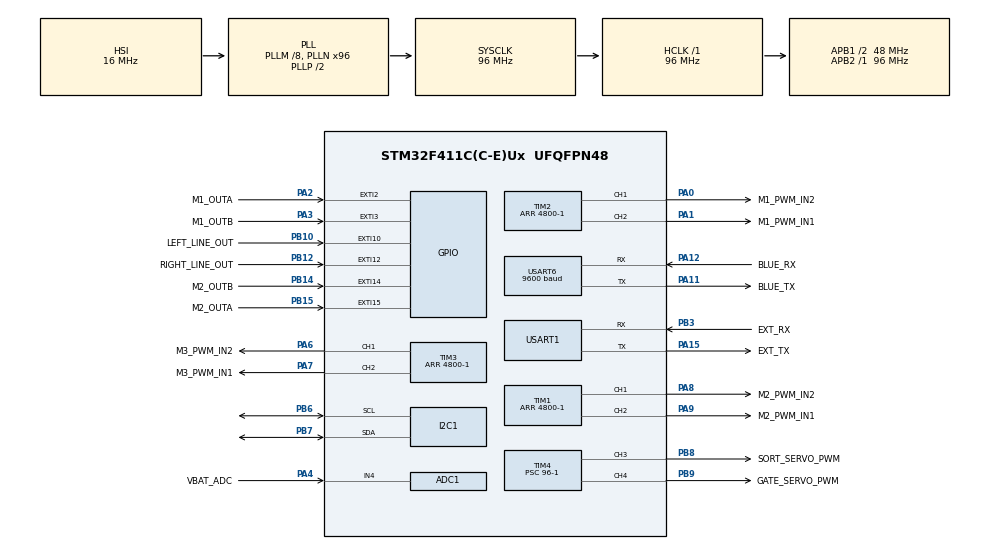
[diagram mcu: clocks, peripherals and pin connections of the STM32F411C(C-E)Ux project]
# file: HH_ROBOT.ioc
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ADC1.Channel-0\#ChannelRegularConversion=ADC_CHANNEL_4
ADC1.NbrOfConversionFlag=1
ADC1.Rank-0\#ChannelRegularConversion=1
ADC1.SamplingTime-0\#ChannelRegularConversion=ADC_SAMPLETIME_3CYCLES
ADC1.master=1
I2C1.I2C_Mode=I2C_Standard
Mcu.Family=STM32F4
Mcu.Name=STM32F411C(C-E)Ux
Mcu.Package=UFQFPN48
NVIC.EXTI15_10_IRQn=true\:0\:0\:false\:false\:true\:true\:true\:true
NVIC.EXTI2_IRQn=true\:0\:0\:false\:false\:true\:true\:true\:true
NVIC.EXTI3_IRQn=true\:0\:0\:false\:false\:true\:true\:true\:true
NVIC.PriorityGroup=NVIC_PRIORITYGROUP_4
NVIC.TIM1_BRK_TIM9_IRQn=true\:0\:0\:false\:false\:true\:true\:true\:true
NVIC.TIM1_UP_TIM10_IRQn=true\:0\:0\:false\:false\:true\:true\:true\:true
NVIC.TIM4_IRQn=true\:0\:0\:false\:false\:true\:true\:true\:true
NVIC.USART1_IRQn=true\:0\:0\:false\:false\:true\:true\:true\:true
NVIC.USART6_IRQn=true\:0\:0\:false\:false\:true\:true\:true\:true
PA0-WKUP.GPIO_Label=M1_PWM_IN2
PA0-WKUP.Signal=S_TIM2_CH1_ETR
PA1.GPIO_Label=M1_PWM_IN1
PA1.Signal=S_TIM2_CH2
PA11.GPIO_Label=BLUE_TX
PA11.Mode=Asynchronous
PA11.Signal=USART6_TX
PA12.GPIO_Label=BLUE_RX
PA12.Mode=Asynchronous
PA12.Signal=USART6_RX
PA13.Mode=Serial_Wire
PA13.Signal=SYS_JTMS-SWDIO
PA14.Mode=Serial_Wire
PA14.Signal=SYS_JTCK-SWCLK
PA15.GPIO_Label=EXT_TX
PA15.Mode=Asynchronous
PA15.Signal=USART1_TX
PA2.GPIO_Label=M1_OUTA
PA2.GPIO_ModeDefaultEXTI=GPIO_MODE_IT_RISING_FALLING
PA2.Signal=GPXTI2
PA3.GPIO_Label=M1_OUTB
PA3.GPIO_ModeDefaultEXTI=GPIO_MODE_IT_RISING_FALLING
PA3.Signal=GPXTI3
PA4.GPIO_Label=VBAT_ADC
PA4.Signal=ADCx_IN4
PA6.GPIO_Label=M3_PWM_IN2
PA6.Signal=S_TIM3_CH1
PA7.GPIO_Label=M3_PWM_IN1
PA7.Signal=S_TIM3_CH2
PA8.GPIO_Label=M2_PWM_IN2
PA8.Signal=S_TIM1_CH1
PA9.GPIO_Label=M2_PWM_IN1
PA9.Signal=S_TIM1_CH2
PB10.GPIO_Label=LEFT_LINE_OUT
PB10.GPIO_ModeDefaultEXTI=GPIO_MODE_IT_RISING_FALLING
PB10.GPIO_PuPd=GPIO_NOPULL
PB10.Signal=GPXTI10
PB12.GPIO_Label=RIGHT_LINE_OUT
PB12.GPIO_ModeDefaultEXTI=GPIO_MODE_IT_RISING_FALLING
PB12.Signal=GPXTI12
PB14.GPIO_Label=M2_OUTB
PB14.GPIO_ModeDefaultEXTI=GPIO_MODE_IT_RISING_FALLING
PB14.Signal=GPXTI14
PB15.GPIO_Label=M2_OUTA
PB15.GPIO_ModeDefaultEXTI=GPIO_MODE_IT_RISING_FALLING
PB15.Signal=GPXTI15
PB3.GPIO_Label=EXT_RX
PB3.Mode=Asynchronous
PB3.Signal=USART1_RX
PB6.GPIO_Pu=GPIO_PULLUP
PB6.Mode=I2C
PB6.Signal=I2C1_SCL
PB7.GPIO_Pu=GPIO_PULLUP
PB7.Mode=I2C
PB7.Signal=I2C1_SDA
PB8.GPIO_Label=SORT_SERVO_PWM
PB8.Signal=S_TIM4_CH3
PB9.GPIO_Label=GATE_SERVO_PWM
PB9.Signal=S_TIM4_CH4
PH0\ -\ OSC_IN.Mode=HSE-External-Oscillator
PH0\ -\ OSC_IN.Signal=RCC_OSC_IN
PH1\ -\ OSC_OUT.Mode=HSE-External-Oscillator
PH1\ -\ OSC_OUT.Signal=RCC_OSC_OUT
ProjectManager.HeapSize=0x200
ProjectManager.StackSize=0x400
ProjectManager.TargetToolchain=STM32CubeIDE
RCC.48MHZClocksFreq_Value=48000000
RCC.AHBFreq_Value=96000000
RCC.APB1CLKDivider=RCC_HCLK_DIV2
RCC.APB1Freq_Value=48000000
RCC.APB1TimFreq_Value=96000000
RCC.APB2Freq_Value=96000000
RCC.APB2TimFreq_Value=96000000
RCC.CortexFreq_Value=96000000
RCC.HCLKFreq_Value=96000000
RCC.HSE_VALUE=25000000
RCC.HSI_VALUE=16000000
RCC.LSE_VALUE=32768
RCC.PLLM=8
RCC.PLLN=96
RCC.SYSCLKFreq_VALUE=96000000
RCC.SYSCLKSource=RCC_SYSCLKSOURCE_PLLCLK
RCC.VCOOutputFreq_Value=192000000
SH.ADCx_IN4.0=ADC1_IN4,IN4
SH.S_TIM1_CH1.0=TIM1_CH1,PWM Generation1 CH1
SH.S_TIM1_CH2.0=TIM1_CH2,PWM Generation2 CH2
SH.S_TIM2_CH1_ETR.0=TIM2_CH1,PWM Generation1 CH1
SH.S_TIM2_CH2.0=TIM2_CH2,PWM Generation2 CH2
SH.S_TIM3_CH1.0=TIM3_CH1,PWM Generation1 CH1
SH.S_TIM3_CH2.0=TIM3_CH2,PWM Generation2 CH2
SH.S_TIM4_CH3.0=TIM4_CH3,PWM Generation3 CH3
SH.S_TIM4_CH4.0=TIM4_CH4,PWM Generation4 CH4
TIM1.Channel-PWM\ Generation1\ CH1=TIM_CHANNEL_1
TIM1.Channel-PWM\ Generation2\ CH2=TIM_CHANNEL_2
TIM1.Period=4800-1
TIM10.AutoReloadPreload=TIM_AUTORELOAD_PRELOAD_DISABLE
TIM10.Period=48000-1
TIM10.Prescaler=2000-1
TIM2.Channel-PWM\ Generation1\ CH1=TIM_CHANNEL_1
TIM2.Channel-PWM\ Generation2\ CH2=TIM_CHANNEL_2
TIM2.Period=4800-1
TIM3.Channel-PWM\ Generation1\ CH1=TIM_CHANNEL_1
TIM3.Channel-PWM\ Generation2\ CH2=TIM_CHANNEL_2
TIM3.Period=4800-1
TIM4.Channel-PWM\ Generation3\ CH3=TIM_CHANNEL_3
TIM4.Channel-PWM\ Generation4\ CH4=TIM_CHANNEL_4
TIM4.Period=20000-1
TIM4.Prescaler=96-1
TIM9.Period=48000-1
TIM9.Prescaler=2-1
USART1.VirtualMode=VM_ASYNC
USART6.BaudRate=9600
USART6.VirtualMode=VM_ASYNC
VP_TIM10_VS_ClockSourceINT.Mode=Enable_Timer
VP_TIM9_VS_ClockSourceINT.Mode=Internal
board=custom

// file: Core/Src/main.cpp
/* USER CODE BEGIN Header */
/**
  ******************************************************************************
  * @file           : main.cpp
  * @brief          : Main program body
  ******************************************************************************
  * @attention
  * @author Miles Alderman
  * @author John Bennett
  * Copyright (c) 2023 STMicroelectronics.
  * All rights reserved.
  *
  * This software is licensed under terms that can be found in the LICENSE file
  * in the root directory of this software component.
  * If no LICENSE file comes with this software, it is provided AS-IS.
  *
  ******************************************************************************
  */

/* USER CODE END Header */
#include "main.h"

/* USER CODE BEGIN Includes */

#include "string.h"
#include "apds9960.h"
#include "servo_driver.h"
#include <stdio.h>
#include "motor_driver.h"
#include "bluetooth_driver.h"
#include "line_driver.h"
#include "encoder_driver.h"
#include "navigation.h"

/* USER CODE END Includes */

ADC_HandleTypeDef hadc1;

I2C_HandleTypeDef hi2c1;

TIM_HandleTypeDef htim1;
TIM_HandleTypeDef htim2;
TIM_HandleTypeDef htim3;
TIM_HandleTypeDef htim4;
TIM_HandleTypeDef htim9;
TIM_HandleTypeDef htim10;

UART_HandleTypeDef huart1;
UART_HandleTypeDef huart6;

/* USER CODE BEGIN PV */
uint8_t sort_flg = 1;
uint8_t corral_flg = 1;
uint8_t nav_flg = 1;
uint8_t nav_2_flg = 1;

char char_in;
char blue_char;
double PathL;

blue_drv_t blue1 = {'0', '1', &blue_char};

line_drv_t lineR = {'0', GPIOB, RIGHT_LINE_OUT_Pin};
line_drv_t lineL = {'0', GPIOB, LEFT_LINE_OUT_Pin};

motor_drv_t motor1 = {0, TIM_CHANNEL_2, TIM_CHANNEL_1,&htim2};
motor_drv_t motor2 = {0, TIM_CHANNEL_2, TIM_CHANNEL_1,&htim1};
motor_drv_t motor3 = {-1000, TIM_CHANNEL_2, TIM_CHANNEL_1,&htim3};

encoder_drv_t encoder1 = init_encoder(M1_OUTA_Pin, GPIOA, M1_OUTB_Pin, GPIOA, 64*50);
encoder_drv_t encoder2 = init_encoder(M2_OUTA_Pin, GPIOB, M2_OUTB_Pin, GPIOB, 64*50);

// Start Color Sensor
APDS9960 RGB_SORT(&hi2c1, &huart6, 250);

// Servo Object
Servo SERVO_SORT(&htim4, TIM_CHANNEL_4);
Servo SERVO_CORRAL(&htim4, TIM_CHANNEL_3);

// PID
PID_drv_t PID1 = {0, 0, 0, 20, 0, 0, 17};
PID_drv_t PID2 = {0, 0, 0, 20, 0, 0, 17};

// Build World
double y_start = 36;
world_drv_t world = {0,-y_start,90,5, (int16_t)y_start, 0, -y_start,37000/720,6400/11};

//Navigation
nav_drv_t nav = {&motor1,&motor2,&encoder1,&encoder2,&PID1,&PID2,&world,0};

/* USER CODE END PV */

void SystemClock_Config(void);
static void MX_GPIO_Init(void);
static void MX_ADC1_Init(void);
static void MX_I2C1_Init(void);
static void MX_TIM1_Init(void);
static void MX_TIM2_Init(void);
static void MX_TIM3_Init(void);
static void MX_TIM4_Init(void);
static void MX_USART1_UART_Init(void);
static void MX_USART6_UART_Init(void);
static void MX_TIM10_Init(void);
static void MX_TIM9_Init(void);
/* USER CODE BEGIN PFP */
void usrprint(const char* message);
void usrprint(uint32_t value);

/**
  * @brief The mastermind task. Mastermind manages other tasks
  */
void MASTERMIND_TASK () {
	if (nav_flg == 5 && nav.flag == 0) {
		corral_flg = 2;
	}
	if (corral_flg == 2 && SERVO_CORRAL.flag == 0){
		nav_flg = 6;
	}
	if (nav_flg == 5 && nav.flag == 0) {
		corral_flg = 1;
	}
}

/**
  * @brief Navigation task controls the desired position of robot
  */
void NAV_TASK(){
	if(blue1.status == '1'){
		nav_Update_PID(&nav);
		if(nav_flg == 1 && nav.flag == 0){
			nav_Lin(&nav,6*3);
			nav_flg++;
		} else if(nav_flg == 2 && nav.flag == 0){
			nav_Rot(&nav,-60);
			nav_flg++;
			PathL = -world.y_tot_pos;
		} else if(nav_flg == 3){
			if(nav_2_flg == 12 && nav.flag == 0){
				nav_Rot(&nav,120);
				nav_flg++;
				nav_2_flg = 1;
			} else if(nav_2_flg%2 == 1){
				if(nav.flag == 0){
					nav_Lin(&nav,PathL);
					nav_2_flg++;
				}
			} else if(nav_2_flg%2 == 0){
				if(nav.flag == 0){
					nav_Rot(&nav,60);
					nav_2_flg++;
				}
			}
		} else if(nav_flg == 4){
			if(nav.flag == 0){
				nav_Lin(&nav,-.5);
				nav_2_flg++;
			}
			if(lineR.state == '1' || lineL.state == '1'){
				nav_flg++;
			}
		} else if(nav_flg == 5){
			if(nav.flag == 0){
				//waiting for Corral 2 lift
			}
		}  else if(nav_flg == 6){
			if(nav.flag == 0){
				nav_Lin(&nav,.5*(nav_2_flg-2));
				nav_flg = 2;
				nav_2_flg = 1;
			}
		}
	}
}

/**
  * @brief Tasks for the Corral module.
  * @param SERVO_obj Servo object associated with the corral.
  */
void CORRAL_TASK(Servo& SERVO_obj) {
	if(blue1.status == '1'){
		// 45deg => 0deg
		if (corral_flg == 1 && SERVO_obj.flag == 0) {
			SERVO_obj.setAngle(0,2000);
			corral_flg = 0;
		// 0deg => 45deg
		} else if (corral_flg == 2 && SERVO_obj.flag == 0) {
			SERVO_obj.setAngle(45,2000);
			corral_flg = 0;
		}
	}

}

/**
  * @brief Tasks for the Motor module.
  * @param motor1 First motor object.
  * @param motor2 Second motor object.
  * @param motor3 Third motor object.
  */
void MOTOR_TASK(motor_drv_t* motor1, motor_drv_t* motor2, motor_drv_t* motor3) {
	  setPWM(motor1);
	  setPWM(motor2);
	  setPWM(motor3);
}

/**
  * @brief Sorts colelcted balls
  * @param RGB_obj RGB sensor object.
  * @param SERVO_obj Servo object associated with the sort module.
  */
void SORT_TASK(APDS9960& RGB_obj, Servo& SERVO_obj) {
	if(blue1.status == '1'){
		if (sort_flg != 0) {
			RGB_obj.readRGBC();
		}

		if (sort_flg == 1) {
			//State 1: Sensing
			if (RGB_obj.ballDetect()) {
				sort_flg = 2;
				//usrprint("Ball Detected");
			}
			//RGB_obj.printRGBCBuffer();

		} else if (sort_flg == 2){
			//State 2: Processing

			// Determine if ball should be kept
			if (RGB_obj.colorSort()) { //if ball is our color
				SERVO_obj.setAngle(0,5000); // coral
				//usrprint("Target Ball Acquired! Storing...");
			} else {
				SERVO_obj.setAngle(180,5000); // reject
				//usrprint("Incorrect ball... rejecting");
			}

			sort_flg = 3;

		} else if (sort_flg == 3) {
			//State 3: Sort Movement
			if (SERVO_obj.flag == 0){
				//usrprint("Position Reset");
				SERVO_obj.setAngle(90,5000); // 90 degrees
				sort_flg = 4;
			}

		} else if (sort_flg == 4) {
			//State 4: resetting
			if (SERVO_obj.flag == 0){
				sort_flg = 1;
				//usrprint("Ready for new ball!");
			}
		}
	}

}

/* USER CODE END PFP */

 /**
  * @brief The application entry point.
  * @retval int Return code
  */
int main(void)
{

  /* MCU Configuration--------------------------------------------------------*/

  /* Reset of all peripherals, Initializes the Flash interface and the Systick. */
  HAL_Init();

  /* Configure the system clock */
  SystemClock_Config();

  /* Initialize all configured peripherals */
  MX_GPIO_Init();
  MX_ADC1_Init();
  MX_I2C1_Init();
  MX_TIM1_Init();
  MX_TIM2_Init();
  MX_TIM3_Init();
  MX_TIM4_Init();
  MX_USART1_UART_Init();
  MX_USART6_UART_Init();
  MX_TIM10_Init();
  MX_TIM9_Init();
  /* USER CODE BEGIN 2 */

  //////// INTITIALIZATION //////////////////////////////
  SERVO_SORT.initialize();
  SERVO_SORT.setAngle(90,2000);

  SERVO_CORRAL.max_rot = 270;
  SERVO_CORRAL.initialize();
  SERVO_CORRAL.setAngle(45,2000); //start in upright position TODO: move to mastermind at some point

  // Start UART
  HAL_UART_Receive_IT(&huart1,(uint8_t*) &char_in, 1);
  HAL_UART_Receive_IT(&huart6,(uint8_t*) &blue_char, 1);
  // Start timer
  HAL_TIM_Base_Start_IT(&htim10);
  HAL_TIM_Base_Start_IT(&htim9);
  /* USER CODE END 2 */

  /* Infinite loop */
  /* USER CODE BEGIN WHILE */
  while (1)
  {
	  MASTERMIND_TASK();
	  CORRAL_TASK(SERVO_CORRAL);
	  SORT_TASK(RGB_SORT, SERVO_SORT);
	  NAV_TASK();
	  MOTOR_TASK(&motor1,&motor2,&motor3);
    /* USER CODE END WHILE */

  }
}

void SystemClock_Config(void)
{
  RCC_OscInitTypeDef RCC_OscInitStruct = {0};
  RCC_ClkInitTypeDef RCC_ClkInitStruct = {0};

  /** Configure the main internal regulator output voltage
  */
  __HAL_RCC_PWR_CLK_ENABLE();
  __HAL_PWR_VOLTAGESCALING_CONFIG(PWR_REGULATOR_VOLTAGE_SCALE1);

  /** Initializes the RCC Oscillators according to the specified parameters
  * in the RCC_OscInitTypeDef structure.
  */
  RCC_OscInitStruct.OscillatorType = RCC_OSCILLATORTYPE_HSI;
  RCC_OscInitStruct.HSIState = RCC_HSI_ON;
  RCC_OscInitStruct.HSICalibrationValue = RCC_HSICALIBRATION_DEFAULT;
  RCC_OscInitStruct.PLL.PLLState = RCC_PLL_ON;
  RCC_OscInitStruct.PLL.PLLSource = RCC_PLLSOURCE_HSI;
  RCC_OscInitStruct.PLL.PLLM = 8;
  RCC_OscInitStruct.PLL.PLLN = 96;
  RCC_OscInitStruct.PLL.PLLP = RCC_PLLP_DIV2;
  RCC_OscInitStruct.PLL.PLLQ = 4;
  if (HAL_RCC_OscConfig(&RCC_OscInitStruct) != HAL_OK)
  {
    Error_Handler();
  }

  /** Initializes the CPU, AHB and APB buses clocks
  */
  RCC_ClkInitStruct.ClockType = RCC_CLOCKTYPE_HCLK|RCC_CLOCKTYPE_SYSCLK
                              |RCC_CLOCKTYPE_PCLK1|RCC_CLOCKTYPE_PCLK2;
  RCC_ClkInitStruct.SYSCLKSource = RCC_SYSCLKSOURCE_PLLCLK;
  RCC_ClkInitStruct.AHBCLKDivider = RCC_SYSCLK_DIV1;
  RCC_ClkInitStruct.APB1CLKDivider = RCC_HCLK_DIV2;
  RCC_ClkInitStruct.APB2CLKDivider = RCC_HCLK_DIV1;

  if (HAL_RCC_ClockConfig(&RCC_ClkInitStruct, FLASH_LATENCY_3) != HAL_OK)
  {
    Error_Handler();
  }
}

static void MX_ADC1_Init(void)
{

  ADC_ChannelConfTypeDef sConfig = {0};

  /** Configure the global features of the ADC (Clock, Resolution, Data Alignment and number of conversion)
  */
  hadc1.Instance = ADC1;
  hadc1.Init.ClockPrescaler = ADC_CLOCK_SYNC_PCLK_DIV4;
  hadc1.Init.Resolution = ADC_RESOLUTION_12B;
  hadc1.Init.ScanConvMode = DISABLE;
  hadc1.Init.ContinuousConvMode = DISABLE;
  hadc1.Init.DiscontinuousConvMode = DISABLE;
  hadc1.Init.ExternalTrigConvEdge = ADC_EXTERNALTRIGCONVEDGE_NONE;
  hadc1.Init.ExternalTrigConv = ADC_SOFTWARE_START;
  hadc1.Init.DataAlign = ADC_DATAALIGN_RIGHT;
  hadc1.Init.NbrOfConversion = 1;
  hadc1.Init.DMAContinuousRequests = DISABLE;
  hadc1.Init.EOCSelection = ADC_EOC_SINGLE_CONV;
  if (HAL_ADC_Init(&hadc1) != HAL_OK)
  {
    Error_Handler();
  }

  /** Configure for the selected ADC regular channel its corresponding rank in the sequencer and its sample time.
  */
  sConfig.Channel = ADC_CHANNEL_4;
  sConfig.Rank = 1;
  sConfig.SamplingTime = ADC_SAMPLETIME_3CYCLES;
  if (HAL_ADC_ConfigChannel(&hadc1, &sConfig) != HAL_OK)
  {
    Error_Handler();
  }

}

static void MX_I2C1_Init(void)
{

  hi2c1.Instance = I2C1;
  hi2c1.Init.ClockSpeed = 100000;
  hi2c1.Init.DutyCycle = I2C_DUTYCYCLE_2;
  hi2c1.Init.OwnAddress1 = 0;
  hi2c1.Init.AddressingMode = I2C_ADDRESSINGMODE_7BIT;
  hi2c1.Init.DualAddressMode = I2C_DUALADDRESS_DISABLE;
  hi2c1.Init.OwnAddress2 = 0;
  hi2c1.Init.GeneralCallMode = I2C_GENERALCALL_DISABLE;
  hi2c1.Init.NoStretchMode = I2C_NOSTRETCH_DISABLE;
  if (HAL_I2C_Init(&hi2c1) != HAL_OK)
  {
    Error_Handler();
  }

}

static void MX_TIM1_Init(void)
{

  TIM_MasterConfigTypeDef sMasterConfig = {0};
  TIM_OC_InitTypeDef sConfigOC = {0};
  TIM_BreakDeadTimeConfigTypeDef sBreakDeadTimeConfig = {0};

  htim1.Instance = TIM1;
  htim1.Init.Prescaler = 0;
  htim1.Init.CounterMode = TIM_COUNTERMODE_UP;
  htim1.Init.Period = 4800-1;
  htim1.Init.ClockDivision = TIM_CLOCKDIVISION_DIV1;
  htim1.Init.RepetitionCounter = 0;
  htim1.Init.AutoReloadPreload = TIM_AUTORELOAD_PRELOAD_DISABLE;
  if (HAL_TIM_PWM_Init(&htim1) != HAL_OK)
  {
    Error_Handler();
  }
  sMasterConfig.MasterOutputTrigger = TIM_TRGO_RESET;
  sMasterConfig.MasterSlaveMode = TIM_MASTERSLAVEMODE_DISABLE;
  if (HAL_TIMEx_MasterConfigSynchronization(&htim1, &sMasterConfig) != HAL_OK)
  {
    Error_Handler();
  }
  sConfigOC.OCMode = TIM_OCMODE_PWM1;
  sConfigOC.Pulse = 0;
  sConfigOC.OCPolarity = TIM_OCPOLARITY_HIGH;
  sConfigOC.OCNPolarity = TIM_OCNPOLARITY_HIGH;
  sConfigOC.OCFastMode = TIM_OCFAST_DISABLE;
  sConfigOC.OCIdleState = TIM_OCIDLESTATE_RESET;
  sConfigOC.OCNIdleState = TIM_OCNIDLESTATE_RESET;
  if (HAL_TIM_PWM_ConfigChannel(&htim1, &sConfigOC, TIM_CHANNEL_1) != HAL_OK)
  {
    Error_Handler();
  }
  if (HAL_TIM_PWM_ConfigChannel(&htim1, &sConfigOC, TIM_CHANNEL_2) != HAL_OK)
  {
    Error_Handler();
  }
  sBreakDeadTimeConfig.OffStateRunMode = TIM_OSSR_DISABLE;
  sBreakDeadTimeConfig.OffStateIDLEMode = TIM_OSSI_DISABLE;
  sBreakDeadTimeConfig.LockLevel = TIM_LOCKLEVEL_OFF;
  sBreakDeadTimeConfig.DeadTime = 0;
  sBreakDeadTimeConfig.BreakState = TIM_BREAK_DISABLE;
  sBreakDeadTimeConfig.BreakPolarity = TIM_BREAKPOLARITY_HIGH;
  sBreakDeadTimeConfig.AutomaticOutput = TIM_AUTOMATICOUTPUT_DISABLE;
  if (HAL_TIMEx_ConfigBreakDeadTime(&htim1, &sBreakDeadTimeConfig) != HAL_OK)
  {
    Error_Handler();
  }
  HAL_TIM_MspPostInit(&htim1);

}

static void MX_TIM2_Init(void)
{

  TIM_MasterConfigTypeDef sMasterConfig = {0};
  TIM_OC_InitTypeDef sConfigOC = {0};

  htim2.Instance = TIM2;
  htim2.Init.Prescaler = 0;
  htim2.Init.CounterMode = TIM_COUNTERMODE_UP;
  htim2.Init.Period = 4800-1;
  htim2.Init.ClockDivision = TIM_CLOCKDIVISION_DIV1;
  htim2.Init.AutoReloadPreload = TIM_AUTORELOAD_PRELOAD_DISABLE;
  if (HAL_TIM_PWM_Init(&htim2) != HAL_OK)
  {
    Error_Handler();
  }
  sMasterConfig.MasterOutputTrigger = TIM_TRGO_RESET;
  sMasterConfig.MasterSlaveMode = TIM_MASTERSLAVEMODE_DISABLE;
  if (HAL_TIMEx_MasterConfigSynchronization(&htim2, &sMasterConfig) != HAL_OK)
  {
    Error_Handler();
  }
  sConfigOC.OCMode = TIM_OCMODE_PWM1;
  sConfigOC.Pulse = 0;
  sConfigOC.OCPolarity = TIM_OCPOLARITY_HIGH;
  sConfigOC.OCFastMode = TIM_OCFAST_DISABLE;
  if (HAL_TIM_PWM_ConfigChannel(&htim2, &sConfigOC, TIM_CHANNEL_1) != HAL_OK)
  {
    Error_Handler();
  }
  if (HAL_TIM_PWM_ConfigChannel(&htim2, &sConfigOC, TIM_CHANNEL_2) != HAL_OK)
  {
    Error_Handler();
  }
  HAL_TIM_MspPostInit(&htim2);

}

static void MX_TIM3_Init(void)
{

  TIM_MasterConfigTypeDef sMasterConfig = {0};
  TIM_OC_InitTypeDef sConfigOC = {0};

  htim3.Instance = TIM3;
  htim3.Init.Prescaler = 0;
  htim3.Init.CounterMode = TIM_COUNTERMODE_UP;
  htim3.Init.Period = 4800-1;
  htim3.Init.ClockDivision = TIM_CLOCKDIVISION_DIV1;
  htim3.Init.AutoReloadPreload = TIM_AUTORELOAD_PRELOAD_DISABLE;
  if (HAL_TIM_PWM_Init(&htim3) != HAL_OK)
  {
    Error_Handler();
  }
  sMasterConfig.MasterOutputTrigger = TIM_TRGO_RESET;
  sMasterConfig.MasterSlaveMode = TIM_MASTERSLAVEMODE_DISABLE;
  if (HAL_TIMEx_MasterConfigSynchronization(&htim3, &sMasterConfig) != HAL_OK)
  {
    Error_Handler();
  }
  sConfigOC.OCMode = TIM_OCMODE_PWM1;
  sConfigOC.Pulse = 0;
  sConfigOC.OCPolarity = TIM_OCPOLARITY_HIGH;
  sConfigOC.OCFastMode = TIM_OCFAST_DISABLE;
  if (HAL_TIM_PWM_ConfigChannel(&htim3, &sConfigOC, TIM_CHANNEL_1) != HAL_OK)
  {
    Error_Handler();
  }
  if (HAL_TIM_PWM_ConfigChannel(&htim3, &sConfigOC, TIM_CHANNEL_2) != HAL_OK)
  {
    Error_Handler();
  }
  HAL_TIM_MspPostInit(&htim3);

}

static void MX_TIM4_Init(void)
{

  TIM_MasterConfigTypeDef sMasterConfig = {0};
  TIM_OC_InitTypeDef sConfigOC = {0};

  htim4.Instance = TIM4;
  htim4.Init.Prescaler = 96-1;
  htim4.Init.CounterMode = TIM_COUNTERMODE_UP;
  htim4.Init.Period = 20000-1;
  htim4.Init.ClockDivision = TIM_CLOCKDIVISION_DIV1;
  htim4.Init.AutoReloadPreload = TIM_AUTORELOAD_PRELOAD_DISABLE;
  if (HAL_TIM_PWM_Init(&htim4) != HAL_OK)
  {
    Error_Handler();
  }
  sMasterConfig.MasterOutputTrigger = TIM_TRGO_RESET;
  sMasterConfig.MasterSlaveMode = TIM_MASTERSLAVEMODE_DISABLE;
  if (HAL_TIMEx_MasterConfigSynchronization(&htim4, &sMasterConfig) != HAL_OK)
  {
    Error_Handler();
  }
  sConfigOC.OCMode = TIM_OCMODE_PWM1;
  sConfigOC.Pulse = 0;
  sConfigOC.OCPolarity = TIM_OCPOLARITY_HIGH;
  sConfigOC.OCFastMode = TIM_OCFAST_DISABLE;
  if (HAL_TIM_PWM_ConfigChannel(&htim4, &sConfigOC, TIM_CHANNEL_3) != HAL_OK)
  {
    Error_Handler();
  }
  if (HAL_TIM_PWM_ConfigChannel(&htim4, &sConfigOC, TIM_CHANNEL_4) != HAL_OK)
  {
    Error_Handler();
  }
  HAL_TIM_MspPostInit(&htim4);

}

static void MX_TIM9_Init(void)
{

  TIM_ClockConfigTypeDef sClockSourceConfig = {0};

  htim9.Instance = TIM9;
  htim9.Init.Prescaler = 2-1;
  htim9.Init.CounterMode = TIM_COUNTERMODE_UP;
  htim9.Init.Period = 48000-1;
  htim9.Init.ClockDivision = TIM_CLOCKDIVISION_DIV1;
  htim9.Init.AutoReloadPreload = TIM_AUTORELOAD_PRELOAD_DISABLE;
  if (HAL_TIM_Base_Init(&htim9) != HAL_OK)
  {
    Error_Handler();
  }
  sClockSourceConfig.ClockSource = TIM_CLOCKSOURCE_INTERNAL;
  if (HAL_TIM_ConfigClockSource(&htim9, &sClockSourceConfig) != HAL_OK)
  {
    Error_Handler();
  }

}

static void MX_TIM10_Init(void)
{

  htim10.Instance = TIM10;
  htim10.Init.Prescaler = 2000-1;
  htim10.Init.CounterMode = TIM_COUNTERMODE_UP;
  htim10.Init.Period = 48000-1;
  htim10.Init.ClockDivision = TIM_CLOCKDIVISION_DIV1;
  htim10.Init.AutoReloadPreload = TIM_AUTORELOAD_PRELOAD_DISABLE;
  if (HAL_TIM_Base_Init(&htim10) != HAL_OK)
  {
    Error_Handler();
  }

}

static void MX_USART1_UART_Init(void)
{

  huart1.Instance = USART1;
  huart1.Init.BaudRate = 115200;
  huart1.Init.WordLength = UART_WORDLENGTH_8B;
  huart1.Init.StopBits = UART_STOPBITS_1;
  huart1.Init.Parity = UART_PARITY_NONE;
  huart1.Init.Mode = UART_MODE_TX_RX;
  huart1.Init.HwFlowCtl = UART_HWCONTROL_NONE;
  huart1.Init.OverSampling = UART_OVERSAMPLING_16;
  if (HAL_UART_Init(&huart1) != HAL_OK)
  {
    Error_Handler();
  }

}

static void MX_USART6_UART_Init(void)
{

  huart6.Instance = USART6;
  huart6.Init.BaudRate = 9600;
  huart6.Init.WordLength = UART_WORDLENGTH_8B;
  huart6.Init.StopBits = UART_STOPBITS_1;
  huart6.Init.Parity = UART_PARITY_NONE;
  huart6.Init.Mode = UART_MODE_TX_RX;
  huart6.Init.HwFlowCtl = UART_HWCONTROL_NONE;
  huart6.Init.OverSampling = UART_OVERSAMPLING_16;
  if (HAL_UART_Init(&huart6) != HAL_OK)
  {
    Error_Handler();
  }

}

static void MX_GPIO_Init(void)
{
  GPIO_InitTypeDef GPIO_InitStruct = {0};

  /* GPIO Ports Clock Enable */
  __HAL_RCC_GPIOH_CLK_ENABLE();
  __HAL_RCC_GPIOA_CLK_ENABLE();
  __HAL_RCC_GPIOB_CLK_ENABLE();

  /*Configure GPIO pins : M1_OUTA_Pin M1_OUTB_Pin */
  GPIO_InitStruct.Pin = M1_OUTA_Pin|M1_OUTB_Pin;
  GPIO_InitStruct.Mode = GPIO_MODE_IT_RISING_FALLING;
  GPIO_InitStruct.Pull = GPIO_NOPULL;
  HAL_GPIO_Init(GPIOA, &GPIO_InitStruct);

  /*Configure GPIO pins : LEFT_LINE_OUT_Pin RIGHT_LINE_OUT_Pin M2_OUTB_Pin M2_OUTA_Pin */
  GPIO_InitStruct.Pin = LEFT_LINE_OUT_Pin|RIGHT_LINE_OUT_Pin|M2_OUTB_Pin|M2_OUTA_Pin;
  GPIO_InitStruct.Mode = GPIO_MODE_IT_RISING_FALLING;
  GPIO_InitStruct.Pull = GPIO_NOPULL;
  HAL_GPIO_Init(GPIOB, &GPIO_InitStruct);

  /* EXTI interrupt init*/
  HAL_NVIC_SetPriority(EXTI2_IRQn, 0, 0);
  HAL_NVIC_EnableIRQ(EXTI2_IRQn);

  HAL_NVIC_SetPriority(EXTI3_IRQn, 0, 0);
  HAL_NVIC_EnableIRQ(EXTI3_IRQn);

  HAL_NVIC_SetPriority(EXTI15_10_IRQn, 0, 0);
  HAL_NVIC_EnableIRQ(EXTI15_10_IRQn);

}

/* USER CODE BEGIN 4 */
/**
 * @brief Transmit a string message via UART interface.
 *
 * This function appends a line terminator ("\r\n") to the string
 * and sends it via the UART interface.
 *
 * @param message Null-terminated string to transmit.
 */
void usrprint(const char* message)
{
    // Create a buffer for the complete message with \r\n
    char* completeMessage = new char[strlen(message) + 3];
    strcpy(completeMessage, message);
    strcat(completeMessage, "\r\n");
    HAL_UART_Transmit(&huart6, reinterpret_cast<uint8_t*>(const_cast<char*>(completeMessage)), strlen(completeMessage), HAL_MAX_DELAY);

    delete[] completeMessage; // Release the dynamically allocated memory
}

/**
 * @brief Transmit a uint32_t value via UART interface.
 *
 * This function converts the uint32_t value to string and sends
 * it via the UART interface.
 *
 * @param value The uint32_t value to transmit.
 */
void usrprint(uint32_t value)
{
    char stringValue[30];
    sprintf(stringValue, "%lu", value); // Convert uint32_t to string
    // Print the value
    usrprint(stringValue);
}

/**
 * @brief Transmit a formatted string via UART interface.
 *
 * This function formats a string using a provided format and a uint32_t value.
 * The formatted string is then sent via the UART interface.
 *
 * @param message A format string for sprintf.
 * @param value The uint32_t value to be used with the format string.
 */
void usrprint(const char* message,uint32_t value)
{
    char stringValue[30];
    sprintf(stringValue, message, value); // Convert uint32_t to string
    // Print the value
    usrprint(stringValue);
}

/**
 * @brief Rx Transfer completed callback.
 *
 * This function is used to recreate a uart transfer interrupt for both uarts: huart1 and huart6
 * Check which version of the UART triggered this callback
 *
 * @param huart UART handle.
 */
void HAL_UART_RxCpltCallback(UART_HandleTypeDef* huart){
	// Check which version of the UART triggered this callback
	if(huart == &huart1){
		HAL_UART_Transmit(&huart1,(uint8_t*) &char_in, 1,1000);
		HAL_UART_Receive_IT(huart,(uint8_t*) &char_in, 1);

	}
	if(huart == &huart6){
		HAL_UART_Receive_IT(huart,(uint8_t*) &blue_char, 1);
	}
}

/**
 * @brief Period elapsed callback in non-blocking mode. Callback: timer has rolled over
 *
 * This function is used to keep track of when timers overflow.
 * We have two timers that cause interrupt triggers a second and a millisecond timer
 * This timer is used for printing not as quickly updating operation states and flags. As well as keeping track of the state of the deadman switch.
 *
 *
 * @param htim TIM handle.
 */
// Callback: timer has rolled over
void HAL_TIM_PeriodElapsedCallback(TIM_HandleTypeDef *htim){
  // Check which version of the timer triggered this callback
  if (htim == &htim9 ){
	  SERVO_CORRAL.update_servo_flag();
	  SERVO_SORT.update_servo_flag();
	  Update_Encoder_State(&encoder1);
	  Update_Encoder_State(&encoder2);
	  nav_Update_Flag(&nav);
  }
  else if (htim == &htim10 ){
  	  updateStatus(&blue1);
  	  // May need to move if stantement as function into master mind task
  	  if(blue1.status == '0' && blue1.cur_state == '1'){
  		  disable(&motor1);
  		  disable(&motor2);
  		  disable(&motor3);
  		  blue1.cur_state = '0';
  	  } else if(blue1.status == '1' && blue1.cur_state == '0'){
  		  enable(&motor1);
  		  enable(&motor2);
  		  enable(&motor3);
  		  blue1.cur_state = '1';
  	  }
	  usrprint("PID1.error: %lu",PID2.last_error);
	  usrprint("PID1.error: %lu",-PID2.last_error);
	  usrprint("nav_flg: %lu",nav_flg);
	  //usrprint("encoder1.pos: %lu",encoder1.TOTAL_COUNT);

    }
}

/**
 * @brief EXTI line detection callback.
 *
 * Used for updating line followers and updating encoders on every rising and falling edge.
 *
 * @param GPIO_Pin Specifies the port pin connected to corresponding EXTI line.
 */

void HAL_GPIO_EXTI_Callback (uint16_t GPIO_Pin){
	if (GPIO_Pin == RIGHT_LINE_OUT_Pin){
		update_Line(&lineR);
		usrprint("RightL.State: %lu",lineR.state);
	}
	if (GPIO_Pin == LEFT_LINE_OUT_Pin){
		update_Line(&lineL);
		usrprint("LeftL.State: %lu",lineL.state);
	}
	if (GPIO_Pin == M1_OUTA_Pin || GPIO_Pin == M1_OUTB_Pin){
		update_encoder(&encoder1);
	}
	if (GPIO_Pin == M2_OUTA_Pin || GPIO_Pin == M2_OUTB_Pin){
		update_encoder(&encoder2);
	}
}

/* USER CODE END 4 */

void Error_Handler(void)
{
  __disable_irq();
  while (1)
  {
  }
}
